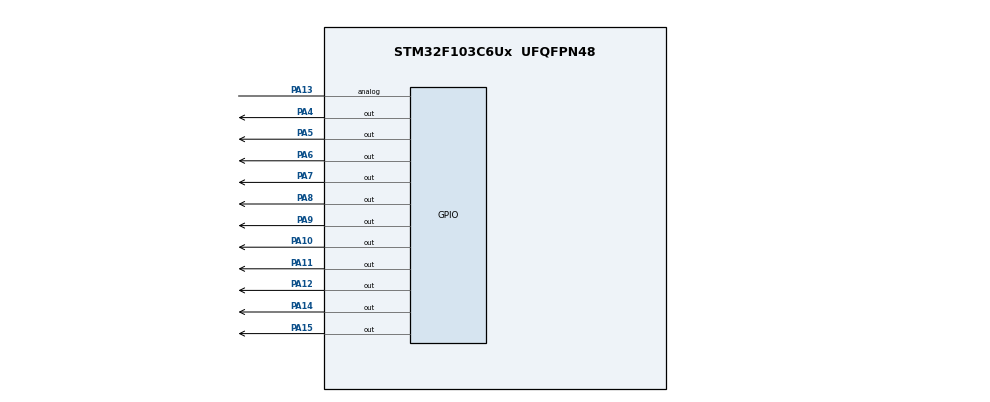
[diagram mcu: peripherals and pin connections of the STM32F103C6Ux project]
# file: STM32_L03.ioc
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Mcu.Family=STM32F1
Mcu.Name=STM32F103C6Ux
Mcu.Package=UFQFPN48
NVIC.PriorityGroup=NVIC_PRIORITYGROUP_4
PA10.Signal=GPIO_Output
PA11.Signal=GPIO_Output
PA12.Signal=GPIO_Output
PA13.Signal=GPIO_Analog
PA14.Signal=GPIO_Output
PA15.Signal=GPIO_Output
PA4.Signal=GPIO_Output
PA5.Signal=GPIO_Output
PA6.Signal=GPIO_Output
PA7.Signal=GPIO_Output
PA8.Signal=GPIO_Output
PA9.Signal=GPIO_Output
ProjectManager.HeapSize=0x200
ProjectManager.StackSize=0x400
ProjectManager.TargetToolchain=STM32CubeIDE
RCC.APB1Freq_Value=8000000
RCC.APB2Freq_Value=8000000
VP_SYS_VS_ND.Mode=No_Debug
board=custom

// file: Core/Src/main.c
/* USER CODE BEGIN Header */
/**
  ******************************************************************************
  * @file           : main.c
  * @brief          : Main program body
  ******************************************************************************
  * @attention
  *
  * <h2><center>&copy; Copyright (c) 2022 STMicroelectronics.
  * All rights reserved.</center></h2>
  *
  * This software component is licensed by ST under BSD 3-Clause license,
  * the "License"; You may not use this file except in compliance with the
  * License. You may obtain a copy of the License at:
  *                        opensource.org/licenses/BSD-3-Clause
  *
  ******************************************************************************
  */
/* USER CODE END Header */
#include "main.h"

void SystemClock_Config(void);
static void MX_GPIO_Init(void);

/* USER CODE BEGIN 0 */

void clearAllClock(void) {
    HAL_GPIO_WritePin(GPIOA, 0xFFF0, GPIO_PIN_RESET);
}

void setNumberOnClock(int num) {
	HAL_GPIO_WritePin(GPIOA, 0B10000 << num, GPIO_PIN_SET);
}

void clearNumberOnClock(int num) {
	HAL_GPIO_WritePin(GPIOA, 0B10000 << num, GPIO_PIN_RESET);
}

/* USER CODE END 0 */

int main(void)
{

  /* MCU Configuration--------------------------------------------------------*/

  /* Reset of all peripherals, Initializes the Flash interface and the Systick. */
  HAL_Init();

  /* Configure the system clock */
  SystemClock_Config();

  /* Initialize all configured peripherals */
  MX_GPIO_Init();

  /* Infinite loop */
  /* USER CODE BEGIN WHILE */
  int second = 0;
  int minute = 0;
  int hour = 0;

  while (1)
  {
	  if (second == 12) {
		  minute++;
		  if (minute == 60) {
			  hour++;
			  minute = 0;
		  }
		  if (hour == 12) {
			  hour = 0;
		  }
		  second = 0;
	  }
	  setNumberOnClock(minute / 5);
	  setNumberOnClock(hour);

	  int bitReset = 0xFFF0 & (~ (0B10000 << (minute / 5))) & (~ (0B10000 << hour));
	  HAL_GPIO_WritePin(GPIOA, bitReset, GPIO_PIN_RESET);
	  setNumberOnClock(second);
	  second++;
	  HAL_Delay(50);

    /* USER CODE END WHILE */

  }
}

void SystemClock_Config(void)
{
  RCC_OscInitTypeDef RCC_OscInitStruct = {0};
  RCC_ClkInitTypeDef RCC_ClkInitStruct = {0};

  /** Initializes the RCC Oscillators according to the specified parameters
  * in the RCC_OscInitTypeDef structure.
  */
  RCC_OscInitStruct.OscillatorType = RCC_OSCILLATORTYPE_HSI;
  RCC_OscInitStruct.HSIState = RCC_HSI_ON;
  RCC_OscInitStruct.HSICalibrationValue = RCC_HSICALIBRATION_DEFAULT;
  RCC_OscInitStruct.PLL.PLLState = RCC_PLL_NONE;
  if (HAL_RCC_OscConfig(&RCC_OscInitStruct) != HAL_OK)
  {
    Error_Handler();
  }
  /** Initializes the CPU, AHB and APB buses clocks
  */
  RCC_ClkInitStruct.ClockType = RCC_CLOCKTYPE_HCLK|RCC_CLOCKTYPE_SYSCLK
                              |RCC_CLOCKTYPE_PCLK1|RCC_CLOCKTYPE_PCLK2;
  RCC_ClkInitStruct.SYSCLKSource = RCC_SYSCLKSOURCE_HSI;
  RCC_ClkInitStruct.AHBCLKDivider = RCC_SYSCLK_DIV1;
  RCC_ClkInitStruct.APB1CLKDivider = RCC_HCLK_DIV1;
  RCC_ClkInitStruct.APB2CLKDivider = RCC_HCLK_DIV1;

  if (HAL_RCC_ClockConfig(&RCC_ClkInitStruct, FLASH_LATENCY_0) != HAL_OK)
  {
    Error_Handler();
  }
}

static void MX_GPIO_Init(void)
{
  GPIO_InitTypeDef GPIO_InitStruct = {0};

  /* GPIO Ports Clock Enable */
  __HAL_RCC_GPIOA_CLK_ENABLE();

  /*Configure GPIO pin Output Level */
  HAL_GPIO_WritePin(GPIOA, GPIO_PIN_4|GPIO_PIN_5|GPIO_PIN_6|GPIO_PIN_7
                          |GPIO_PIN_8|GPIO_PIN_9|GPIO_PIN_10|GPIO_PIN_11
                          |GPIO_PIN_12|GPIO_PIN_13|GPIO_PIN_14|GPIO_PIN_15, GPIO_PIN_RESET);

  /*Configure GPIO pins : PA4 PA5 PA6 PA7
                           PA8 PA9 PA10 PA11
                           PA12 PA13 PA14 PA15 */
  GPIO_InitStruct.Pin = GPIO_PIN_4|GPIO_PIN_5|GPIO_PIN_6|GPIO_PIN_7
                          |GPIO_PIN_8|GPIO_PIN_9|GPIO_PIN_10|GPIO_PIN_11
                          |GPIO_PIN_12|GPIO_PIN_13|GPIO_PIN_14|GPIO_PIN_15;
  GPIO_InitStruct.Mode = GPIO_MODE_OUTPUT_PP;
  GPIO_InitStruct.Pull = GPIO_NOPULL;
  GPIO_InitStruct.Speed = GPIO_SPEED_FREQ_LOW;
  HAL_GPIO_Init(GPIOA, &GPIO_InitStruct);

}

void Error_Handler(void)
{
  __disable_irq();
  while (1)
  {
  }
}

/************************ (C) COPYRIGHT STMicroelectronics *****END OF FILE****/
